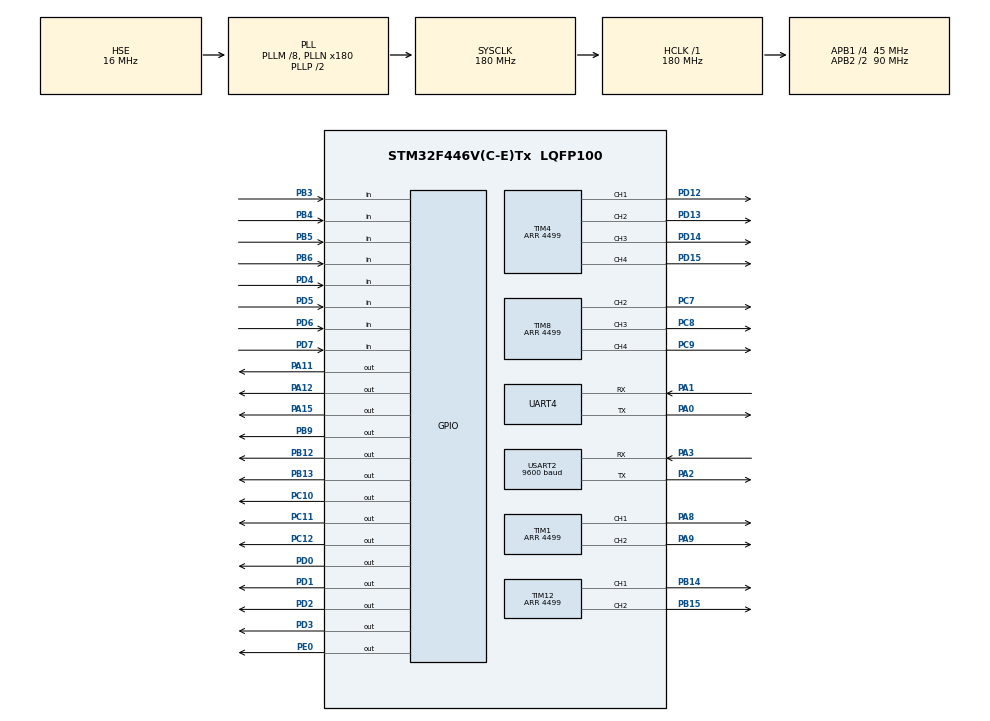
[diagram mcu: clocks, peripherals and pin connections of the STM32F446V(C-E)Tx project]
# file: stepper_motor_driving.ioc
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Dma.Request0=USART2_RX
Dma.USART2_RX.0.Direction=DMA_PERIPH_TO_MEMORY
Dma.USART2_RX.0.FIFOMode=DMA_FIFOMODE_DISABLE
Dma.USART2_RX.0.Instance=DMA1_Stream5
Dma.USART2_RX.0.MemDataAlignment=DMA_MDATAALIGN_BYTE
Dma.USART2_RX.0.MemInc=DMA_MINC_ENABLE
Dma.USART2_RX.0.Mode=DMA_CIRCULAR
Dma.USART2_RX.0.PeriphDataAlignment=DMA_PDATAALIGN_BYTE
Dma.USART2_RX.0.PeriphInc=DMA_PINC_DISABLE
Dma.USART2_RX.0.Priority=DMA_PRIORITY_LOW
Mcu.Family=STM32F4
Mcu.Name=STM32F446V(C-E)Tx
Mcu.Package=LQFP100
NVIC.DMA1_Stream5_IRQn=true\:0\:0\:false\:false\:true\:false\:true
NVIC.PriorityGroup=NVIC_PRIORITYGROUP_4
NVIC.TIM2_IRQn=true\:0\:0\:false\:false\:true\:true\:true
PA0-WKUP.Mode=Asynchronous
PA0-WKUP.Signal=UART4_TX
PA1.Mode=Asynchronous
PA1.Signal=UART4_RX
PA11.Signal=GPIO_Output
PA12.Signal=GPIO_Output
PA15.Signal=GPIO_Output
PA2.Mode=Asynchronous
PA2.Signal=USART2_TX
PA3.Mode=Asynchronous
PA3.Signal=USART2_RX
PA8.Signal=S_TIM1_CH1
PA9.Signal=S_TIM1_CH2
PB12.Signal=GPIO_Output
PB13.Signal=GPIO_Output
PB14.Signal=S_TIM12_CH1
PB15.Signal=S_TIM12_CH2
PB3.Signal=GPIO_Input
PB4.Signal=GPIO_Input
PB5.Signal=GPIO_Input
PB6.Signal=GPIO_Input
PB9.Signal=GPIO_Output
PC10.Signal=GPIO_Output
PC11.Signal=GPIO_Output
PC12.Signal=GPIO_Output
PC7.Signal=S_TIM8_CH2
PC8.Signal=S_TIM8_CH3
PC9.Signal=S_TIM8_CH4
PD0.Signal=GPIO_Output
PD1.Signal=GPIO_Output
PD12.Signal=S_TIM4_CH1
PD13.Signal=S_TIM4_CH2
PD14.Signal=S_TIM4_CH3
PD15.Signal=S_TIM4_CH4
PD2.Signal=GPIO_Output
PD3.Signal=GPIO_Output
PD4.Signal=GPIO_Input
PD5.Signal=GPIO_Input
PD6.Signal=GPIO_Input
PD7.Signal=GPIO_Input
PE0.Signal=GPIO_Output
PH0-OSC_IN.Mode=HSE-External-Oscillator
PH0-OSC_IN.Signal=RCC_OSC_IN
PH1-OSC_OUT.Mode=HSE-External-Oscillator
PH1-OSC_OUT.Signal=RCC_OSC_OUT
ProjectManager.HeapSize=0x200
ProjectManager.StackSize=0x400
ProjectManager.TargetToolchain=EWARM V8.32
RCC.AHBFreq_Value=180000000
RCC.APB1CLKDivider=RCC_HCLK_DIV4
RCC.APB1Freq_Value=45000000
RCC.APB1TimFreq_Value=90000000
RCC.APB2CLKDivider=RCC_HCLK_DIV2
RCC.APB2Freq_Value=90000000
RCC.APB2TimFreq_Value=180000000
RCC.CortexFreq_Value=180000000
RCC.HCLKFreq_Value=180000000
RCC.HSE_VALUE=16000000
RCC.PLLM=8
RCC.PLLN=180
RCC.PLLSourceVirtual=RCC_PLLSOURCE_HSE
RCC.SYSCLKFreq_VALUE=180000000
RCC.SYSCLKSource=RCC_SYSCLKSOURCE_PLLCLK
RCC.USBFreq_Value=180000000
RCC.VCOOutputFreq_Value=360000000
SH.S_TIM12_CH1.0=TIM12_CH1,PWM Generation1 CH1
SH.S_TIM12_CH2.0=TIM12_CH2,PWM Generation2 CH2
SH.S_TIM1_CH1.0=TIM1_CH1,PWM Generation1 CH1
SH.S_TIM1_CH2.0=TIM1_CH2,PWM Generation2 CH2
SH.S_TIM4_CH1.0=TIM4_CH1,PWM Generation1 CH1
SH.S_TIM4_CH2.0=TIM4_CH2,PWM Generation2 CH2
SH.S_TIM4_CH3.0=TIM4_CH3,PWM Generation3 CH3
SH.S_TIM4_CH4.0=TIM4_CH4,PWM Generation4 CH4
SH.S_TIM8_CH2.0=TIM8_CH2,PWM Generation2 CH2
SH.S_TIM8_CH3.0=TIM8_CH3,PWM Generation3 CH3
SH.S_TIM8_CH4.0=TIM8_CH4,PWM Generation4 CH4
TIM1.Channel-PWM\ Generation1\ CH1=TIM_CHANNEL_1
TIM1.Channel-PWM\ Generation2\ CH2=TIM_CHANNEL_2
TIM1.Period=4499
TIM12.Channel-PWM\ Generation1\ CH1=TIM_CHANNEL_1
TIM12.Channel-PWM\ Generation2\ CH2=TIM_CHANNEL_2
TIM12.Period=4499
TIM2.Period=4499
TIM4.Channel-PWM\ Generation1\ CH1=TIM_CHANNEL_1
TIM4.Channel-PWM\ Generation2\ CH2=TIM_CHANNEL_2
TIM4.Channel-PWM\ Generation3\ CH3=TIM_CHANNEL_3
TIM4.Channel-PWM\ Generation4\ CH4=TIM_CHANNEL_4
TIM4.Period=4499
TIM8.Channel-PWM\ Generation2\ CH2=TIM_CHANNEL_2
TIM8.Channel-PWM\ Generation3\ CH3=TIM_CHANNEL_3
TIM8.Channel-PWM\ Generation4\ CH4=TIM_CHANNEL_4
TIM8.Period=4499
UART4.VirtualMode=Asynchronous
USART2.BaudRate=9600
USART2.VirtualMode=VM_ASYNC
VP_TIM12_VS_ClockSourceINT.Mode=Internal
VP_TIM1_VS_ClockSourceINT.Mode=Internal
VP_TIM2_VS_ClockSourceINT.Mode=Internal
VP_TIM4_VS_ClockSourceINT.Mode=Internal
VP_TIM8_VS_ClockSourceINT.Mode=Internal
board=custom

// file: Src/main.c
/* USER CODE BEGIN Header */
/**
  ******************************************************************************
  * @file           : main.c
  * @brief          : Main program body
  ******************************************************************************
  * @attention
  *
  * <h2><center>&copy; Copyright (c) 2020 STMicroelectronics.
  * All rights reserved.</center></h2>
  *
  * This software component is licensed by ST under BSD 3-Clause license,
  * the "License"; You may not use this file except in compliance with the
  * License. You may obtain a copy of the License at:
  *                        opensource.org/licenses/BSD-3-Clause
  *
  ******************************************************************************
  */
/* USER CODE END Header */
#include "main.h"

/* USER CODE BEGIN Includes */
#include <string.h>
#include <stdbool.h>

#include "st2_driver/st2_driver.h"
#include "st5_driver/st5_driver.h"
/* USER CODE END Includes */

TIM_HandleTypeDef htim1;
TIM_HandleTypeDef htim2;
TIM_HandleTypeDef htim4;
TIM_HandleTypeDef htim8;
TIM_HandleTypeDef htim12;

UART_HandleTypeDef huart4;
UART_HandleTypeDef huart2;
DMA_HandleTypeDef hdma_usart2_rx;

void SystemClock_Config(void);
static void MX_GPIO_Init(void);
static void MX_DMA_Init(void);
static void MX_TIM1_Init(void);
static void MX_TIM4_Init(void);
static void MX_TIM8_Init(void);
static void MX_TIM12_Init(void);
static void MX_TIM2_Init(void);
static void MX_UART4_Init(void);
static void MX_USART2_UART_Init(void);

/* USER CODE BEGIN 0 */

// CAS Load Cell
typedef enum _CAS_HEADER1{
 CAS_OVERLOAD,
 CAS_UNDERLOAD,
 CAS_STABLE,
 CAS_UNSTABLE
}CAS_HEADER1;

typedef enum _CAS_HEADER2{
 CAS_NET_WEIGHT,
 CAS_GROSS_WEIGHT
}CAS_HEADER2;

typedef enum _CAS_UNIT{
  CAS_UNIT_Kg,
  CAS_UINT_t,
  CAS_UINT_g
}CAS_UNIT;

typedef struct _CAS_DATA{
  CAS_HEADER1 header1;
  CAS_HEADER2 header2;
  float data;
  CAS_UNIT unit;
}CAS_DATA;

#define CAS_RX_BUFFSIZE         100
uint8_t m_casRxBuffer[CAS_RX_BUFFSIZE];

CAS_DATA m_casData;

#define ci(i) (((i) + CAS_RX_BUFFSIZE) % CAS_RX_BUFFSIZE)
bool parse_casData(){

  static uint8_t temp[7];
  static CAS_DATA casData;

  uint8_t i, j;
  bool state = false;

  int32_t weight_hi, weight_lo;
  bool is_neg, is_decimal;

  char* x = (char*)&temp;

  // 1. Find frame between CR(0x0D) LF(0x0A)
  for(i = 0; i < CAS_RX_BUFFSIZE; i++){
    if(m_casRxBuffer[i] == 0x0D){
      if(i == CAS_RX_BUFFSIZE - 1){
        if(m_casRxBuffer[0] == 0x0A){
          state = true;
          break;
        }
      }else{
        if(m_casRxBuffer[i + 1] == 0x0A){
          state = true;
          break;
        }
      }
    }
  }

  if(!state) return false;

  // 2. Check data frame briefly
  i = ci(i - 16);
  if(m_casRxBuffer[ci(i + 2)] != ',') return false;
  if(m_casRxBuffer[ci(i + 5)] != ',') return false;

  // 3. Check Data Header1
  temp[0] = m_casRxBuffer[i];
  temp[1] = m_casRxBuffer[ci(i + 1)];

  if(!strncmp(x, "OL", 2)) casData.header1 = CAS_OVERLOAD;
  else if(!strncmp(x, "UL", 2)) casData.header1 = CAS_UNDERLOAD;
  else if(!strncmp(x, "ST", 2)) casData.header1 = CAS_STABLE;
  else if(!strncmp(x, "US", 2)) casData.header1 = CAS_UNSTABLE;
  else return false;

  // 4. Check Data Header2
  temp[0] = m_casRxBuffer[ci(i + 3)];
  temp[1] = m_casRxBuffer[ci(i + 4)];

  if(!strncmp(x, "NT", 2)) casData.header2 = CAS_NET_WEIGHT;
  else if(!strncmp(x, "GS", 2)) casData.header2 = CAS_GROSS_WEIGHT;
  else return false;

  // 5. Check Weight Data
  for(j = 0; j < 8; j++) temp[j] = m_casRxBuffer[ci(i + 6 + j)];

  is_neg = false;
  is_decimal = false;
  switch(temp[0]){
  case '+' : break;
  case '-' : is_neg = true; break;
  case ' ' : break;
  case '.' : is_decimal = true; break;
  default : return false;
  }

  weight_hi = 0;
  weight_lo = 0;
  for(j = 1; j < 8; j++){
    if(temp[j] >= '0' && temp[j] <= '9'){
      if(is_decimal) weight_lo = weight_lo * 10 + (temp[j] - '0');
      else weight_hi = weight_hi * 10 + (temp[j] - '0');
    }else if(temp[j] == '.'){
      is_decimal = true;
    }else{
      return false;
    }
  }

  casData.data = (float)weight_lo;
  while(casData.data > 1.0f) casData.data /= 10.0f;
  casData.data += (float)weight_hi;
  if(is_neg) casData.data *= -1.0f;

  // 6. Check units
  temp[0] = m_casRxBuffer[ci(i + 14)];
  temp[1] = m_casRxBuffer[ci(i + 15)];
  if(!strncmp(x, "kg", 2)) casData.unit = CAS_UNIT_Kg;
  else if(!strncmp(x, "-t", 2)) casData.unit = CAS_UINT_t;
  else if(!strncmp(x, "-g", 2)) casData.unit = CAS_UINT_g;
  else return false;

  // 7. Copy data & erase frame from buffer
  for(j = 0; j < 18; j++) m_casRxBuffer[ci(i + j)] = 0x00;
  memcpy(&m_casData, &casData, sizeof(CAS_DATA));

  return true;

}

// Motor - DC
float dc_speed_demand; // [-100, 100]
float dc_speed_command;
int16_t pwm_duty;

// Motor - 2phase, 5phase
#define ENABLE_GATE     HAL_GPIO_WritePin(GPIOA, GPIO_PIN_11, GPIO_PIN_SET)
#define DISABLE_GATE    HAL_GPIO_WritePin(GPIOA, GPIO_PIN_11, GPIO_PIN_RESET)

#define ENABLE_DC       HAL_GPIO_WritePin(GPIOB, GPIO_PIN_13, GPIO_PIN_SET)
#define DISABLE_DC      HAL_GPIO_WritePin(GPIOB, GPIO_PIN_13, GPIO_PIN_RESET)

#define ENABLE_ST2      HAL_GPIO_WritePin(GPIOB, GPIO_PIN_12, GPIO_PIN_SET)
#define DISABLE_ST2     HAL_GPIO_WritePin(GPIOB, GPIO_PIN_12, GPIO_PIN_RESET)

#define EANBLE_ST5      HAL_GPIO_WritePin(GPIOA, GPIO_PIN_12, GPIO_PIN_SET)
#define DISABLE_ST5     HAL_GPIO_WritePin(GPIOA, GPIO_PIN_12, GPIO_PIN_RESET)

float st2_pwmDuty[4];
float st5_pwmDuty[5];
void HAL_TIM_PeriodElapsedCallback(TIM_HandleTypeDef *htim){
  if(htim == &htim2){

    ST2_Loop();
    ST5_Loop();

    ST2_getPWM(st2_pwmDuty);
    ST5_getPWM(st5_pwmDuty);

    TIM4->CCR1 = (uint16_t)(st2_pwmDuty[0] * TIM4->ARR);
    TIM4->CCR3 = (uint16_t)(st2_pwmDuty[1] * TIM4->ARR);
    TIM4->CCR4 = (uint16_t)(st2_pwmDuty[2] * TIM4->ARR);
    TIM4->CCR2 = (uint16_t)(st2_pwmDuty[3] * TIM4->ARR);

    TIM8->CCR4 = (uint16_t)(st5_pwmDuty[0] * TIM8->ARR);
    TIM8->CCR3 = (uint16_t)(st5_pwmDuty[1] * TIM8->ARR);
    TIM8->CCR2 = (uint16_t)(st5_pwmDuty[2] * TIM8->ARR);
    TIM1->CCR2 = (uint16_t)(st5_pwmDuty[3] * TIM1->ARR);
    TIM1->CCR1 = (uint16_t)(st5_pwmDuty[4] * TIM1->ARR);

  }
}

uint8_t txBuffer;
uint8_t rxBuffer;
/* USER CODE END 0 */

int main(void)
{

  /* MCU Configuration--------------------------------------------------------*/

  /* Reset of all peripherals, Initializes the Flash interface and the Systick. */
  HAL_Init();

  /* Configure the system clock */
  SystemClock_Config();

  /* Initialize all configured peripherals */
  MX_GPIO_Init();
  MX_DMA_Init();
  MX_TIM1_Init();
  MX_TIM4_Init();
  MX_TIM8_Init();
  MX_TIM12_Init();
  MX_TIM2_Init();
  MX_UART4_Init();
  MX_USART2_UART_Init();
  /* USER CODE BEGIN 2 */

  HAL_UART_Receive_DMA(&huart2, m_casRxBuffer, CAS_RX_BUFFSIZE);

  DISABLE_GATE;
  DISABLE_DC;
  DISABLE_ST2;
  DISABLE_ST5;

  HAL_TIM_PWM_Start(&htim12, TIM_CHANNEL_1);    // DC-
  HAL_TIM_PWM_Start(&htim12, TIM_CHANNEL_2);    // DC+

  HAL_TIM_PWM_Start(&htim4, TIM_CHANNEL_1);     // ST2 A+
  HAL_TIM_PWM_Start(&htim4, TIM_CHANNEL_3);     // ST2 B+
  HAL_TIM_PWM_Start(&htim4, TIM_CHANNEL_4);     // ST2 A-
  HAL_TIM_PWM_Start(&htim4, TIM_CHANNEL_2);     // ST2 B-

  HAL_TIM_PWM_Start(&htim1, TIM_CHANNEL_1);     // ST5 E
  HAL_TIM_PWM_Start(&htim1, TIM_CHANNEL_2);     // ST5 D
  HAL_TIM_PWM_Start(&htim8, TIM_CHANNEL_2);     // ST5 C
  HAL_TIM_PWM_Start(&htim8, TIM_CHANNEL_3);     // ST5 B
  HAL_TIM_PWM_Start(&htim8, TIM_CHANNEL_4);     // ST5 A

  ST2_Init(20000);
  ST5_Init(20000);

  ENABLE_GATE;
  ENABLE_DC;
  ENABLE_ST2;
  EANBLE_ST5;

  HAL_TIM_Base_Start_IT(&htim2); // 20kHz Interrupt

  st2.speed = 300;
  st5.speed = 300;

  /* USER CODE END 2 */

  /* Infinite loop */
  /* USER CODE BEGIN WHILE */
  while (1)
  {
    parse_casData();
    if(HAL_UART_Receive(&huart4, &rxBuffer, 1, 1000) == HAL_OK){
      if(rxBuffer == '0'){
        st5.input_cnt = 1000;
      }
      else if(rxBuffer == '1'){
        st5.input_cnt = 0;
      }
      else if(rxBuffer == '2'){
        st2.input_cnt = 1000;
      }
      else if(rxBuffer == '3'){
        st2.input_cnt = 0;
      }
      else if(rxBuffer == '4'){
        dc_speed_demand = 100.0f;
        while(1){
          dc_speed_demand = dc_speed_demand > 100.0f ? 100.0f : (dc_speed_demand < -100.0f ? -100.0f : dc_speed_demand);
          dc_speed_command = dc_speed_command * 0.99f + dc_speed_demand * 0.01f;

          pwm_duty = (uint16_t)((float)htim12.Instance->ARR * dc_speed_command / 100.0f);
          if(pwm_duty < 0){
            htim12.Instance->CCR1 = 0;
            htim12.Instance->CCR2 = -pwm_duty;
          }else{
            htim12.Instance->CCR2 = 0;
            htim12.Instance->CCR1 = pwm_duty;
          }

          HAL_Delay(3);
          if(pwm_duty >= 4490){
            break;
          }
        }
      }
      else if(rxBuffer == '5'){
        dc_speed_demand = 0.0f;
        while(1){
          dc_speed_demand = dc_speed_demand > 100.0f ? 100.0f : (dc_speed_demand < -100.0f ? -100.0f : dc_speed_demand);
          dc_speed_command = dc_speed_command * 0.99f + dc_speed_demand * 0.01f;

          pwm_duty = (uint16_t)((float)htim12.Instance->ARR * dc_speed_command / 100.0f);
          if(pwm_duty < 0){
            htim12.Instance->CCR1 = 0;
            htim12.Instance->CCR2 = -pwm_duty;
          }else{
            htim12.Instance->CCR2 = 0;
            htim12.Instance->CCR1 = pwm_duty;
          }

          HAL_Delay(3);
          if(pwm_duty <= -4490){
            break;
          }
        }
      }
      else if(rxBuffer == '6'){
        dc_speed_demand = -100.0f;
        while(1){
          dc_speed_demand = dc_speed_demand > 100.0f ? 100.0f : (dc_speed_demand < -100.0f ? -100.0f : dc_speed_demand);
          dc_speed_command = dc_speed_command * 0.99f + dc_speed_demand * 0.01f;

          pwm_duty = (uint16_t)((float)htim12.Instance->ARR * dc_speed_command / 100.0f);
          if(pwm_duty < 0){
            htim12.Instance->CCR1 = 0;
            htim12.Instance->CCR2 = -pwm_duty;
          }else{
            htim12.Instance->CCR2 = 0;
            htim12.Instance->CCR1 = pwm_duty;
          }

          HAL_Delay(3);
          if(pwm_duty <= -4490){
            break;
          }
        }
      }
    }
    /* USER CODE END WHILE */

  }
}

void SystemClock_Config(void)
{
  RCC_OscInitTypeDef RCC_OscInitStruct = {0};
  RCC_ClkInitTypeDef RCC_ClkInitStruct = {0};

  /** Configure the main internal regulator output voltage
  */
  __HAL_RCC_PWR_CLK_ENABLE();
  __HAL_PWR_VOLTAGESCALING_CONFIG(PWR_REGULATOR_VOLTAGE_SCALE1);
  /** Initializes the RCC Oscillators according to the specified parameters
  * in the RCC_OscInitTypeDef structure.
  */
  RCC_OscInitStruct.OscillatorType = RCC_OSCILLATORTYPE_HSE;
  RCC_OscInitStruct.HSEState = RCC_HSE_ON;
  RCC_OscInitStruct.PLL.PLLState = RCC_PLL_ON;
  RCC_OscInitStruct.PLL.PLLSource = RCC_PLLSOURCE_HSE;
  RCC_OscInitStruct.PLL.PLLM = 8;
  RCC_OscInitStruct.PLL.PLLN = 180;
  RCC_OscInitStruct.PLL.PLLP = RCC_PLLP_DIV2;
  RCC_OscInitStruct.PLL.PLLQ = 2;
  RCC_OscInitStruct.PLL.PLLR = 2;
  if (HAL_RCC_OscConfig(&RCC_OscInitStruct) != HAL_OK)
  {
    Error_Handler();
  }
  /** Activate the Over-Drive mode
  */
  if (HAL_PWREx_EnableOverDrive() != HAL_OK)
  {
    Error_Handler();
  }
  /** Initializes the CPU, AHB and APB buses clocks
  */
  RCC_ClkInitStruct.ClockType = RCC_CLOCKTYPE_HCLK|RCC_CLOCKTYPE_SYSCLK
                              |RCC_CLOCKTYPE_PCLK1|RCC_CLOCKTYPE_PCLK2;
  RCC_ClkInitStruct.SYSCLKSource = RCC_SYSCLKSOURCE_PLLCLK;
  RCC_ClkInitStruct.AHBCLKDivider = RCC_SYSCLK_DIV1;
  RCC_ClkInitStruct.APB1CLKDivider = RCC_HCLK_DIV4;
  RCC_ClkInitStruct.APB2CLKDivider = RCC_HCLK_DIV2;

  if (HAL_RCC_ClockConfig(&RCC_ClkInitStruct, FLASH_LATENCY_5) != HAL_OK)
  {
    Error_Handler();
  }
}

static void MX_TIM1_Init(void)
{

  TIM_ClockConfigTypeDef sClockSourceConfig = {0};
  TIM_MasterConfigTypeDef sMasterConfig = {0};
  TIM_OC_InitTypeDef sConfigOC = {0};
  TIM_BreakDeadTimeConfigTypeDef sBreakDeadTimeConfig = {0};

  htim1.Instance = TIM1;
  htim1.Init.Prescaler = 0;
  htim1.Init.CounterMode = TIM_COUNTERMODE_UP;
  htim1.Init.Period = 4499;
  htim1.Init.ClockDivision = TIM_CLOCKDIVISION_DIV1;
  htim1.Init.RepetitionCounter = 0;
  htim1.Init.AutoReloadPreload = TIM_AUTORELOAD_PRELOAD_DISABLE;
  if (HAL_TIM_Base_Init(&htim1) != HAL_OK)
  {
    Error_Handler();
  }
  sClockSourceConfig.ClockSource = TIM_CLOCKSOURCE_INTERNAL;
  if (HAL_TIM_ConfigClockSource(&htim1, &sClockSourceConfig) != HAL_OK)
  {
    Error_Handler();
  }
  if (HAL_TIM_PWM_Init(&htim1) != HAL_OK)
  {
    Error_Handler();
  }
  sMasterConfig.MasterOutputTrigger = TIM_TRGO_RESET;
  sMasterConfig.MasterSlaveMode = TIM_MASTERSLAVEMODE_DISABLE;
  if (HAL_TIMEx_MasterConfigSynchronization(&htim1, &sMasterConfig) != HAL_OK)
  {
    Error_Handler();
  }
  sConfigOC.OCMode = TIM_OCMODE_PWM1;
  sConfigOC.Pulse = 0;
  sConfigOC.OCPolarity = TIM_OCPOLARITY_HIGH;
  sConfigOC.OCNPolarity = TIM_OCNPOLARITY_HIGH;
  sConfigOC.OCFastMode = TIM_OCFAST_DISABLE;
  sConfigOC.OCIdleState = TIM_OCIDLESTATE_RESET;
  sConfigOC.OCNIdleState = TIM_OCNIDLESTATE_RESET;
  if (HAL_TIM_PWM_ConfigChannel(&htim1, &sConfigOC, TIM_CHANNEL_1) != HAL_OK)
  {
    Error_Handler();
  }
  if (HAL_TIM_PWM_ConfigChannel(&htim1, &sConfigOC, TIM_CHANNEL_2) != HAL_OK)
  {
    Error_Handler();
  }
  sBreakDeadTimeConfig.OffStateRunMode = TIM_OSSR_DISABLE;
  sBreakDeadTimeConfig.OffStateIDLEMode = TIM_OSSI_DISABLE;
  sBreakDeadTimeConfig.LockLevel = TIM_LOCKLEVEL_OFF;
  sBreakDeadTimeConfig.DeadTime = 0;
  sBreakDeadTimeConfig.BreakState = TIM_BREAK_DISABLE;
  sBreakDeadTimeConfig.BreakPolarity = TIM_BREAKPOLARITY_HIGH;
  sBreakDeadTimeConfig.AutomaticOutput = TIM_AUTOMATICOUTPUT_DISABLE;
  if (HAL_TIMEx_ConfigBreakDeadTime(&htim1, &sBreakDeadTimeConfig) != HAL_OK)
  {
    Error_Handler();
  }
  HAL_TIM_MspPostInit(&htim1);

}

static void MX_TIM2_Init(void)
{

  TIM_ClockConfigTypeDef sClockSourceConfig = {0};
  TIM_MasterConfigTypeDef sMasterConfig = {0};

  htim2.Instance = TIM2;
  htim2.Init.Prescaler = 0;
  htim2.Init.CounterMode = TIM_COUNTERMODE_UP;
  htim2.Init.Period = 4499;
  htim2.Init.ClockDivision = TIM_CLOCKDIVISION_DIV1;
  htim2.Init.AutoReloadPreload = TIM_AUTORELOAD_PRELOAD_DISABLE;
  if (HAL_TIM_Base_Init(&htim2) != HAL_OK)
  {
    Error_Handler();
  }
  sClockSourceConfig.ClockSource = TIM_CLOCKSOURCE_INTERNAL;
  if (HAL_TIM_ConfigClockSource(&htim2, &sClockSourceConfig) != HAL_OK)
  {
    Error_Handler();
  }
  sMasterConfig.MasterOutputTrigger = TIM_TRGO_RESET;
  sMasterConfig.MasterSlaveMode = TIM_MASTERSLAVEMODE_DISABLE;
  if (HAL_TIMEx_MasterConfigSynchronization(&htim2, &sMasterConfig) != HAL_OK)
  {
    Error_Handler();
  }

}

static void MX_TIM4_Init(void)
{

  TIM_ClockConfigTypeDef sClockSourceConfig = {0};
  TIM_MasterConfigTypeDef sMasterConfig = {0};
  TIM_OC_InitTypeDef sConfigOC = {0};

  htim4.Instance = TIM4;
  htim4.Init.Prescaler = 0;
  htim4.Init.CounterMode = TIM_COUNTERMODE_UP;
  htim4.Init.Period = 4499;
  htim4.Init.ClockDivision = TIM_CLOCKDIVISION_DIV1;
  htim4.Init.AutoReloadPreload = TIM_AUTORELOAD_PRELOAD_DISABLE;
  if (HAL_TIM_Base_Init(&htim4) != HAL_OK)
  {
    Error_Handler();
  }
  sClockSourceConfig.ClockSource = TIM_CLOCKSOURCE_INTERNAL;
  if (HAL_TIM_ConfigClockSource(&htim4, &sClockSourceConfig) != HAL_OK)
  {
    Error_Handler();
  }
  if (HAL_TIM_PWM_Init(&htim4) != HAL_OK)
  {
    Error_Handler();
  }
  sMasterConfig.MasterOutputTrigger = TIM_TRGO_RESET;
  sMasterConfig.MasterSlaveMode = TIM_MASTERSLAVEMODE_DISABLE;
  if (HAL_TIMEx_MasterConfigSynchronization(&htim4, &sMasterConfig) != HAL_OK)
  {
    Error_Handler();
  }
  sConfigOC.OCMode = TIM_OCMODE_PWM1;
  sConfigOC.Pulse = 0;
  sConfigOC.OCPolarity = TIM_OCPOLARITY_HIGH;
  sConfigOC.OCFastMode = TIM_OCFAST_DISABLE;
  if (HAL_TIM_PWM_ConfigChannel(&htim4, &sConfigOC, TIM_CHANNEL_1) != HAL_OK)
  {
    Error_Handler();
  }
  if (HAL_TIM_PWM_ConfigChannel(&htim4, &sConfigOC, TIM_CHANNEL_2) != HAL_OK)
  {
    Error_Handler();
  }
  if (HAL_TIM_PWM_ConfigChannel(&htim4, &sConfigOC, TIM_CHANNEL_3) != HAL_OK)
  {
    Error_Handler();
  }
  if (HAL_TIM_PWM_ConfigChannel(&htim4, &sConfigOC, TIM_CHANNEL_4) != HAL_OK)
  {
    Error_Handler();
  }
  HAL_TIM_MspPostInit(&htim4);

}

static void MX_TIM8_Init(void)
{

  TIM_ClockConfigTypeDef sClockSourceConfig = {0};
  TIM_MasterConfigTypeDef sMasterConfig = {0};
  TIM_OC_InitTypeDef sConfigOC = {0};
  TIM_BreakDeadTimeConfigTypeDef sBreakDeadTimeConfig = {0};

  htim8.Instance = TIM8;
  htim8.Init.Prescaler = 0;
  htim8.Init.CounterMode = TIM_COUNTERMODE_UP;
  htim8.Init.Period = 4499;
  htim8.Init.ClockDivision = TIM_CLOCKDIVISION_DIV1;
  htim8.Init.RepetitionCounter = 0;
  htim8.Init.AutoReloadPreload = TIM_AUTORELOAD_PRELOAD_DISABLE;
  if (HAL_TIM_Base_Init(&htim8) != HAL_OK)
  {
    Error_Handler();
  }
  sClockSourceConfig.ClockSource = TIM_CLOCKSOURCE_INTERNAL;
  if (HAL_TIM_ConfigClockSource(&htim8, &sClockSourceConfig) != HAL_OK)
  {
    Error_Handler();
  }
  if (HAL_TIM_PWM_Init(&htim8) != HAL_OK)
  {
    Error_Handler();
  }
  sMasterConfig.MasterOutputTrigger = TIM_TRGO_RESET;
  sMasterConfig.MasterSlaveMode = TIM_MASTERSLAVEMODE_DISABLE;
  if (HAL_TIMEx_MasterConfigSynchronization(&htim8, &sMasterConfig) != HAL_OK)
  {
    Error_Handler();
  }
  sConfigOC.OCMode = TIM_OCMODE_PWM1;
  sConfigOC.Pulse = 0;
  sConfigOC.OCPolarity = TIM_OCPOLARITY_HIGH;
  sConfigOC.OCNPolarity = TIM_OCNPOLARITY_HIGH;
  sConfigOC.OCFastMode = TIM_OCFAST_DISABLE;
  sConfigOC.OCIdleState = TIM_OCIDLESTATE_RESET;
  sConfigOC.OCNIdleState = TIM_OCNIDLESTATE_RESET;
  if (HAL_TIM_PWM_ConfigChannel(&htim8, &sConfigOC, TIM_CHANNEL_2) != HAL_OK)
  {
    Error_Handler();
  }
  if (HAL_TIM_PWM_ConfigChannel(&htim8, &sConfigOC, TIM_CHANNEL_3) != HAL_OK)
  {
    Error_Handler();
  }
  if (HAL_TIM_PWM_ConfigChannel(&htim8, &sConfigOC, TIM_CHANNEL_4) != HAL_OK)
  {
    Error_Handler();
  }
  sBreakDeadTimeConfig.OffStateRunMode = TIM_OSSR_DISABLE;
  sBreakDeadTimeConfig.OffStateIDLEMode = TIM_OSSI_DISABLE;
  sBreakDeadTimeConfig.LockLevel = TIM_LOCKLEVEL_OFF;
  sBreakDeadTimeConfig.DeadTime = 0;
  sBreakDeadTimeConfig.BreakState = TIM_BREAK_DISABLE;
  sBreakDeadTimeConfig.BreakPolarity = TIM_BREAKPOLARITY_HIGH;
  sBreakDeadTimeConfig.AutomaticOutput = TIM_AUTOMATICOUTPUT_DISABLE;
  if (HAL_TIMEx_ConfigBreakDeadTime(&htim8, &sBreakDeadTimeConfig) != HAL_OK)
  {
    Error_Handler();
  }
  HAL_TIM_MspPostInit(&htim8);

}

static void MX_TIM12_Init(void)
{

  TIM_ClockConfigTypeDef sClockSourceConfig = {0};
  TIM_OC_InitTypeDef sConfigOC = {0};

  htim12.Instance = TIM12;
  htim12.Init.Prescaler = 0;
  htim12.Init.CounterMode = TIM_COUNTERMODE_UP;
  htim12.Init.Period = 4499;
  htim12.Init.ClockDivision = TIM_CLOCKDIVISION_DIV1;
  htim12.Init.AutoReloadPreload = TIM_AUTORELOAD_PRELOAD_DISABLE;
  if (HAL_TIM_Base_Init(&htim12) != HAL_OK)
  {
    Error_Handler();
  }
  sClockSourceConfig.ClockSource = TIM_CLOCKSOURCE_INTERNAL;
  if (HAL_TIM_ConfigClockSource(&htim12, &sClockSourceConfig) != HAL_OK)
  {
    Error_Handler();
  }
  if (HAL_TIM_PWM_Init(&htim12) != HAL_OK)
  {
    Error_Handler();
  }
  sConfigOC.OCMode = TIM_OCMODE_PWM1;
  sConfigOC.Pulse = 0;
  sConfigOC.OCPolarity = TIM_OCPOLARITY_HIGH;
  sConfigOC.OCFastMode = TIM_OCFAST_DISABLE;
  if (HAL_TIM_PWM_ConfigChannel(&htim12, &sConfigOC, TIM_CHANNEL_1) != HAL_OK)
  {
    Error_Handler();
  }
  if (HAL_TIM_PWM_ConfigChannel(&htim12, &sConfigOC, TIM_CHANNEL_2) != HAL_OK)
  {
    Error_Handler();
  }
  HAL_TIM_MspPostInit(&htim12);

}

static void MX_UART4_Init(void)
{

  huart4.Instance = UART4;
  huart4.Init.BaudRate = 115200;
  huart4.Init.WordLength = UART_WORDLENGTH_8B;
  huart4.Init.StopBits = UART_STOPBITS_1;
  huart4.Init.Parity = UART_PARITY_NONE;
  huart4.Init.Mode = UART_MODE_TX_RX;
  huart4.Init.HwFlowCtl = UART_HWCONTROL_NONE;
  huart4.Init.OverSampling = UART_OVERSAMPLING_16;
  if (HAL_UART_Init(&huart4) != HAL_OK)
  {
    Error_Handler();
  }

}

static void MX_USART2_UART_Init(void)
{

  huart2.Instance = USART2;
  huart2.Init.BaudRate = 9600;
  huart2.Init.WordLength = UART_WORDLENGTH_8B;
  huart2.Init.StopBits = UART_STOPBITS_1;
  huart2.Init.Parity = UART_PARITY_NONE;
  huart2.Init.Mode = UART_MODE_TX_RX;
  huart2.Init.HwFlowCtl = UART_HWCONTROL_NONE;
  huart2.Init.OverSampling = UART_OVERSAMPLING_16;
  if (HAL_UART_Init(&huart2) != HAL_OK)
  {
    Error_Handler();
  }

}

static void MX_DMA_Init(void)
{

  /* DMA controller clock enable */
  __HAL_RCC_DMA1_CLK_ENABLE();

  /* DMA interrupt init */
  /* DMA1_Stream5_IRQn interrupt configuration */
  HAL_NVIC_SetPriority(DMA1_Stream5_IRQn, 0, 0);
  HAL_NVIC_EnableIRQ(DMA1_Stream5_IRQn);

}

static void MX_GPIO_Init(void)
{
  GPIO_InitTypeDef GPIO_InitStruct = {0};

  /* GPIO Ports Clock Enable */
  __HAL_RCC_GPIOH_CLK_ENABLE();
  __HAL_RCC_GPIOA_CLK_ENABLE();
  __HAL_RCC_GPIOB_CLK_ENABLE();
  __HAL_RCC_GPIOD_CLK_ENABLE();
  __HAL_RCC_GPIOC_CLK_ENABLE();
  __HAL_RCC_GPIOE_CLK_ENABLE();

  /*Configure GPIO pin Output Level */
  HAL_GPIO_WritePin(GPIOB, GPIO_PIN_12|GPIO_PIN_13|GPIO_PIN_9, GPIO_PIN_RESET);

  /*Configure GPIO pin Output Level */
  HAL_GPIO_WritePin(GPIOA, GPIO_PIN_11|GPIO_PIN_12|GPIO_PIN_15, GPIO_PIN_RESET);

  /*Configure GPIO pin Output Level */
  HAL_GPIO_WritePin(GPIOC, GPIO_PIN_10|GPIO_PIN_11|GPIO_PIN_12, GPIO_PIN_RESET);

  /*Configure GPIO pin Output Level */
  HAL_GPIO_WritePin(GPIOD, GPIO_PIN_0|GPIO_PIN_1|GPIO_PIN_2|GPIO_PIN_3, GPIO_PIN_RESET);

  /*Configure GPIO pin Output Level */
  HAL_GPIO_WritePin(GPIOE, GPIO_PIN_0, GPIO_PIN_RESET);

  /*Configure GPIO pins : PB12 PB13 PB9 */
  GPIO_InitStruct.Pin = GPIO_PIN_12|GPIO_PIN_13|GPIO_PIN_9;
  GPIO_InitStruct.Mode = GPIO_MODE_OUTPUT_PP;
  GPIO_InitStruct.Pull = GPIO_NOPULL;
  GPIO_InitStruct.Speed = GPIO_SPEED_FREQ_LOW;
  HAL_GPIO_Init(GPIOB, &GPIO_InitStruct);

  /*Configure GPIO pins : PA11 PA12 PA15 */
  GPIO_InitStruct.Pin = GPIO_PIN_11|GPIO_PIN_12|GPIO_PIN_15;
  GPIO_InitStruct.Mode = GPIO_MODE_OUTPUT_PP;
  GPIO_InitStruct.Pull = GPIO_NOPULL;
  GPIO_InitStruct.Speed = GPIO_SPEED_FREQ_LOW;
  HAL_GPIO_Init(GPIOA, &GPIO_InitStruct);

  /*Configure GPIO pins : PC10 PC11 PC12 */
  GPIO_InitStruct.Pin = GPIO_PIN_10|GPIO_PIN_11|GPIO_PIN_12;
  GPIO_InitStruct.Mode = GPIO_MODE_OUTPUT_PP;
  GPIO_InitStruct.Pull = GPIO_NOPULL;
  GPIO_InitStruct.Speed = GPIO_SPEED_FREQ_LOW;
  HAL_GPIO_Init(GPIOC, &GPIO_InitStruct);

  /*Configure GPIO pins : PD0 PD1 PD2 PD3 */
  GPIO_InitStruct.Pin = GPIO_PIN_0|GPIO_PIN_1|GPIO_PIN_2|GPIO_PIN_3;
  GPIO_InitStruct.Mode = GPIO_MODE_OUTPUT_PP;
  GPIO_InitStruct.Pull = GPIO_NOPULL;
  GPIO_InitStruct.Speed = GPIO_SPEED_FREQ_LOW;
  HAL_GPIO_Init(GPIOD, &GPIO_InitStruct);

  /*Configure GPIO pins : PD4 PD5 PD6 PD7 */
  GPIO_InitStruct.Pin = GPIO_PIN_4|GPIO_PIN_5|GPIO_PIN_6|GPIO_PIN_7;
  GPIO_InitStruct.Mode = GPIO_MODE_INPUT;
  GPIO_InitStruct.Pull = GPIO_NOPULL;
  HAL_GPIO_Init(GPIOD, &GPIO_InitStruct);

  /*Configure GPIO pins : PB3 PB4 PB5 PB6 */
  GPIO_InitStruct.Pin = GPIO_PIN_3|GPIO_PIN_4|GPIO_PIN_5|GPIO_PIN_6;
  GPIO_InitStruct.Mode = GPIO_MODE_INPUT;
  GPIO_InitStruct.Pull = GPIO_NOPULL;
  HAL_GPIO_Init(GPIOB, &GPIO_InitStruct);

  /*Configure GPIO pin : PE0 */
  GPIO_InitStruct.Pin = GPIO_PIN_0;
  GPIO_InitStruct.Mode = GPIO_MODE_OUTPUT_PP;
  GPIO_InitStruct.Pull = GPIO_NOPULL;
  GPIO_InitStruct.Speed = GPIO_SPEED_FREQ_LOW;
  HAL_GPIO_Init(GPIOE, &GPIO_InitStruct);

}

void Error_Handler(void)
{
}

/************************ (C) COPYRIGHT STMicroelectronics *****END OF FILE****/
